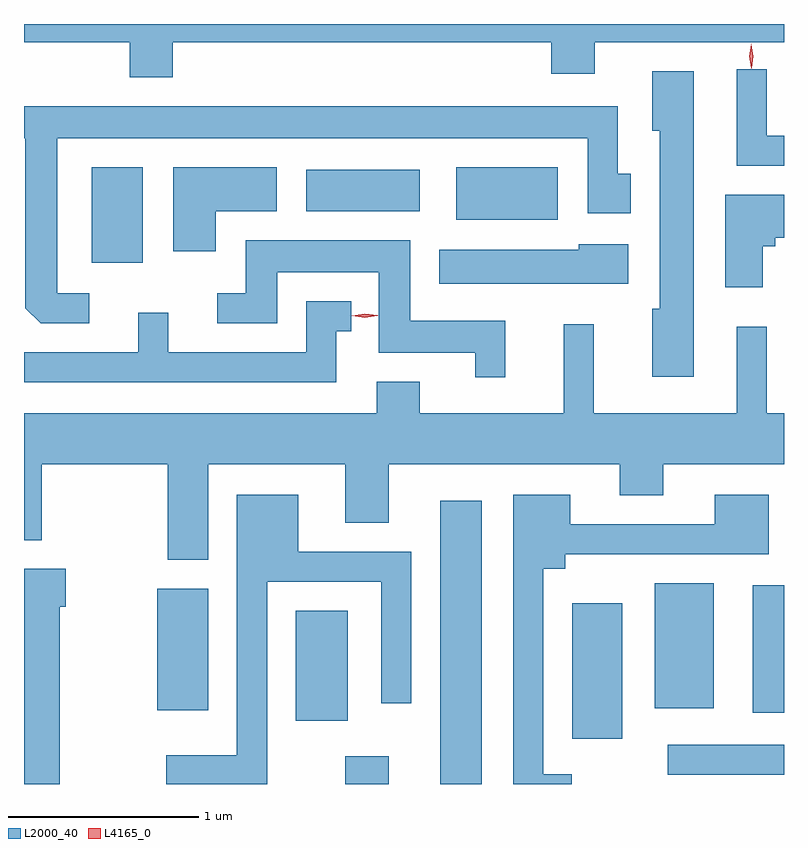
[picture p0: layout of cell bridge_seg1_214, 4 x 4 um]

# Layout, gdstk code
import gdstk
lib = gdstk.Library(unit=1e-6, precision=1e-09)
def R(c, l, rs):  # rectangles x0, y0, x1, y1
    for r in rs: c.add(gdstk.rectangle(r[:2], r[2:], *l))
def P(c, l, *ps):  # polygons
    for p in ps: c.add(gdstk.Polygon(p, *l))
L2000_40 = (2000, 40)
L4165_0 = (4165, 0)

bridge_seg1_214 = lib.new_cell('bridge_seg1_214')
R(bridge_seg1_214, L2000_40, [(837.116,864.592,837.344,864.739), (837.616,864.592,837.834,866.084), (838.813,864.641,839.425,864.799), (838.311,864.831,838.574,865.544), (836.856,864.926,837.129,865.504), (839.261,864.966,839.425,865.639), (836.126,864.981,836.394,865.619), (838.746,864.991,839.054,865.649), (835.781,867.336,836.049,867.839), (837.701,867.561,838.234,867.839), (836.911,867.606,837.509,867.824)])
P(bridge_seg1_214, L2000_40, [(836.209,868.496),(838.201,868.496),(838.201,868.331),(838.429,868.331),(838.429,868.496),(839.425,868.496),(839.425,868.592),(835.425,868.592),(835.425,868.496),(835.981,868.496),(835.981,868.311),(836.209,868.311)],
  [(839.425,868.004),(839.334,868.004),(839.334,868.353),(839.176,868.353),(839.176,867.846),(839.425,867.846)],
  [(838.949,868.344),(838.731,868.344),(838.731,868.031),(838.771,868.031),(838.771,867.094),(838.731,867.094),(838.731,866.736),(838.949,866.736)],
  [(835.768,867.174),(835.599,867.174),(835.599,867.991),(838.391,867.991),(838.391,867.596),(838.619,867.596),(838.619,867.804),(838.549,867.804),(838.549,868.159),(835.425,868.159),(835.425,867.991),(835.431,867.991),(835.431,867.097),(835.512,867.016),(835.768,867.016)],
  [(836.434,867.606),(836.754,867.606),(836.754,867.839),(836.211,867.839),(836.211,867.396),(836.434,867.396)],
  [(839.314,867.421),(839.379,867.421),(839.379,867.466),(839.425,867.466),(839.425,867.694),(839.116,867.694),(839.116,867.206),(839.314,867.206)],
  [(837.959,867.029),(837.459,867.029),(837.459,867.454),(836.591,867.454),(836.591,867.174),(836.443,867.174),(836.443,867.016),(836.759,867.016),(836.759,867.286),(837.291,867.286),(837.291,866.861),(837.801,866.861),(837.801,866.733),(837.959,866.733)],
  [(838.604,867.434),(838.346,867.434),(838.346,867.404),(837.611,867.404),(837.611,867.226),(838.604,867.226)],
  [(837.069,866.976),(837.148,866.976),(837.148,867.134),(836.911,867.134),(836.911,866.864),(836.184,866.864),(836.184,867.073),(836.026,867.073),(836.026,866.864),(835.425,866.864),(835.425,866.706),(837.069,866.706)],
  [(836.394,866.276),(837.116,866.276),(837.116,865.966),(837.344,865.966),(837.344,866.276),(838.561,866.276),(838.561,866.111),(838.789,866.111),(838.789,866.276),(839.425,866.276),(839.425,866.544),(839.334,866.544),(839.334,866.998),(839.176,866.998),(839.176,866.544),(838.424,866.544),(838.424,867.013),(838.266,867.013),(838.266,866.544),(837.509,866.544),(837.509,866.709),(837.281,866.709),(837.281,866.544),(835.425,866.544),(835.425,865.876),(835.519,865.876),(835.519,866.276),(836.181,866.276),(836.181,865.771),(836.394,865.771)],
  [(836.704,865.656),(837.306,865.656),(837.306,865.018),(837.464,865.018),(837.464,865.814),(836.869,865.814),(836.869,866.114),(836.546,866.114),(836.546,864.744),(836.173,864.744),(836.173,864.592),(836.704,864.592)],
  [(838.308,864.644),(838.159,864.644),(838.159,865.726),(838.274,865.726),(838.274,865.801),(839.344,865.801),(839.344,866.114),(839.061,866.114),(839.061,865.959),(838.299,865.959),(838.299,866.114),(838.001,866.114),(838.001,864.592),(838.308,864.592)],
  [(835.614,865.526),(835.644,865.526),(835.644,865.724),(835.425,865.724),(835.425,864.592),(835.614,864.592)])
P(bridge_seg1_214, L4165_0, [(837.218,867.047),(837.149,867.056),(837.149,867.056),(837.149,867.057),(837.218,867.067),(837.288,867.058),(837.288,867.057),(837.288,867.057)],
  [(839.253,868.358),(839.253,868.358),(839.243,868.422),(839.252,868.486),(839.252,868.487),(839.253,868.486),(839.263,868.422),(839.254,868.358)])

lib.write_gds('bridge_seg1_214.gds')
